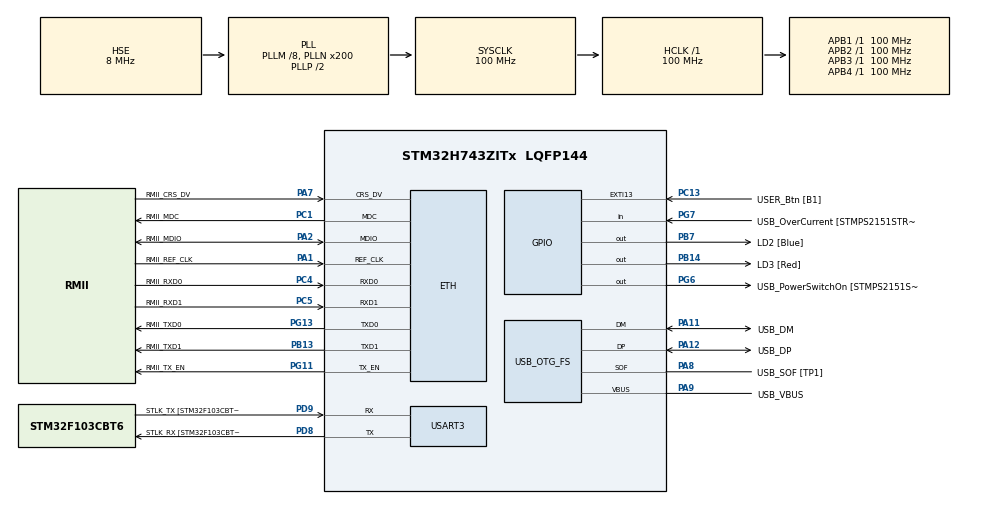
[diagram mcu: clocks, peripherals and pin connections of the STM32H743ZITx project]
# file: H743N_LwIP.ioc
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CORTEX_M7.AccessPermission-Cortex_Memory_Protection_Unit_Region0_Settings=MPU_REGION_NO_ACCESS
CORTEX_M7.AccessPermission-Cortex_Memory_Protection_Unit_Region1_Settings=MPU_REGION_FULL_ACCESS
CORTEX_M7.AccessPermission-Cortex_Memory_Protection_Unit_Region2_Settings=MPU_REGION_FULL_ACCESS
CORTEX_M7.BaseAddress-Cortex_Memory_Protection_Unit_Region0_Settings=0
CORTEX_M7.BaseAddress-Cortex_Memory_Protection_Unit_Region1_Settings=0x30020000
CORTEX_M7.BaseAddress-Cortex_Memory_Protection_Unit_Region2_Settings=0x30040000
CORTEX_M7.CPU_DCache=Enabled
CORTEX_M7.CPU_ICache=Enabled
CORTEX_M7.DisableExec-Cortex_Memory_Protection_Unit_Region0_Settings=MPU_INSTRUCTION_ACCESS_DISABLE
CORTEX_M7.DisableExec-Cortex_Memory_Protection_Unit_Region1_Settings=MPU_INSTRUCTION_ACCESS_DISABLE
CORTEX_M7.DisableExec-Cortex_Memory_Protection_Unit_Region2_Settings=MPU_INSTRUCTION_ACCESS_DISABLE
CORTEX_M7.Enable-Cortex_Memory_Protection_Unit_Region0_Settings=MPU_REGION_ENABLE
CORTEX_M7.Enable-Cortex_Memory_Protection_Unit_Region1_Settings=MPU_REGION_ENABLE
CORTEX_M7.Enable-Cortex_Memory_Protection_Unit_Region2_Settings=MPU_REGION_ENABLE
CORTEX_M7.IsBufferable-Cortex_Memory_Protection_Unit_Region0_Settings=MPU_ACCESS_NOT_BUFFERABLE
CORTEX_M7.IsBufferable-Cortex_Memory_Protection_Unit_Region2_Settings=MPU_ACCESS_BUFFERABLE
CORTEX_M7.IsShareable-Cortex_Memory_Protection_Unit_Region0_Settings=MPU_ACCESS_SHAREABLE
CORTEX_M7.IsShareable-Cortex_Memory_Protection_Unit_Region1_Settings=MPU_ACCESS_NOT_SHAREABLE
CORTEX_M7.IsShareable-Cortex_Memory_Protection_Unit_Region2_Settings=MPU_ACCESS_SHAREABLE
CORTEX_M7.MPU_Control=MPU_PRIVILEGED_DEFAULT
CORTEX_M7.Size-Cortex_Memory_Protection_Unit_Region0_Settings=MPU_REGION_SIZE_4GB
CORTEX_M7.Size-Cortex_Memory_Protection_Unit_Region1_Settings=MPU_REGION_SIZE_128KB
CORTEX_M7.Size-Cortex_Memory_Protection_Unit_Region2_Settings=MPU_REGION_SIZE_512B
CORTEX_M7.SubRegionDisable-Cortex_Memory_Protection_Unit_Region0_Settings=0x87
CORTEX_M7.TypeExtField-Cortex_Memory_Protection_Unit_Region1_Settings=MPU_TEX_LEVEL1
ETH.MediaInterface=HAL_ETH_RMII_MODE
FREERTOS.MEMORY_ALLOCATION=0
FREERTOS.Tasks01=defaultTask,0,512,StartDefaultTask,Default,NULL,Dynamic,NULL,NULL;myTask02,0,1024,TCPServerTask,Default,NULL,Dynamic,NULL,NULL
FREERTOS.configMINIMAL_STACK_SIZE=512
FREERTOS.configTOTAL_HEAP_SIZE=32768
FREERTOS.configUSE_NEWLIB_REENTRANT=1
LWIP.BSP.number=1
LWIP.GATEWAY_ADDRESS=192.168.010.001
LWIP.IP_ADDRESS=192.168.010.010
LWIP.LWIP_DHCP=0
LWIP.LWIP_HTTPD=0
LWIP.LWIP_NETIF_LOOPBACK=1
LWIP.LWIP_RAM_HEAP_POINTER=0x30020000
LWIP.MEM_SIZE=131048
LWIP.NETMASK_ADDRESS=255.255.255.000
LWIP.Version=v2.1.2_Cube
LWIP0.BSP.STBoard=false
LWIP0.BSP.api=BSP_COMPONENT_DRIVER
LWIP0.BSP.component=LAN8742
LWIP0.BSP.instance=LAN8742
LWIP0.BSP.name=Driver_PHY
LWIP0.BSP.solution=LAN8742
Mcu.Family=STM32H7
Mcu.Name=STM32H743ZITx
Mcu.Package=LQFP144
NVIC.ETH_IRQn=true\:5\:0\:false\:false\:true\:true\:true\:true\:true
NVIC.ETH_WKUP_IRQn=true\:5\:0\:false\:false\:true\:true\:true\:true\:true
NVIC.PriorityGroup=NVIC_PRIORITYGROUP_4
NVIC.TIM8_UP_TIM13_IRQn=true\:0\:0\:false\:false\:true\:false\:false\:true\:true
NVIC.TimeBase=TIM8_UP_TIM13_IRQn
NVIC.TimeBaseIP=TIM8
PA1.GPIO_Label=RMII_REF_CLK
PA1.Mode=RMII
PA1.Signal=ETH_REF_CLK
PA10.GPIO_Label=USB_ID
PA10.Signal=USB_OTG_FS_ID
PA11.GPIO_Label=USB_DM
PA11.Mode=Device_Only
PA11.Signal=USB_OTG_FS_DM
PA12.GPIO_Label=USB_DP
PA12.Mode=Device_Only
PA12.Signal=USB_OTG_FS_DP
PA13\ (JTMS/SWDIO).Mode=Trace_Asynchronous_SW
PA13\ (JTMS/SWDIO).Signal=DEBUG_JTMS-SWDIO
PA14\ (JTCK/SWCLK).Mode=Trace_Asynchronous_SW
PA14\ (JTCK/SWCLK).Signal=DEBUG_JTCK-SWCLK
PA2.GPIO_Label=RMII_MDIO
PA2.Mode=RMII
PA2.Signal=ETH_MDIO
PA7.GPIO_Label=RMII_CRS_DV
PA7.Mode=RMII
PA7.Signal=ETH_CRS_DV
PA8.GPIO_Label=USB_SOF [TP1]
PA8.Mode=Activate_SOF_FS
PA8.Signal=USB_OTG_FS_SOF
PA9.GPIO_Label=USB_VBUS
PA9.Mode=Activate_VBUS
PA9.Signal=USB_OTG_FS_VBUS
PB13.GPIO_Label=RMII_TXD1
PB13.Mode=RMII
PB13.Signal=ETH_TXD1
PB14.GPIO_Label=LD3 [Red]
PB14.Signal=GPIO_Output
PB3\ (JTDO/TRACESWO).Mode=Trace_Asynchronous_SW
PB3\ (JTDO/TRACESWO).Signal=DEBUG_JTDO-SWO
PB7.GPIO_Label=LD2 [Blue]
PB7.Signal=GPIO_Output
PC1.GPIO_Label=RMII_MDC
PC1.Mode=RMII
PC1.Signal=ETH_MDC
PC13.GPIO_Label=USER_Btn [B1]
PC13.Signal=GPXTI13
PC14-OSC32_IN\ (OSC32_IN).Mode=LSE-External-Oscillator
PC14-OSC32_IN\ (OSC32_IN).Signal=RCC_OSC32_IN
PC15-OSC32_OUT\ (OSC32_OUT).Mode=LSE-External-Oscillator
PC15-OSC32_OUT\ (OSC32_OUT).Signal=RCC_OSC32_OUT
PC4.GPIO_Label=RMII_RXD0
PC4.Mode=RMII
PC4.Signal=ETH_RXD0
PC5.GPIO_Label=RMII_RXD1
PC5.Mode=RMII
PC5.Signal=ETH_RXD1
PD8.GPIO_Label=STLK_RX [STM32F103CBT6_PA3]
PD8.Mode=Asynchronous
PD8.Signal=USART3_TX
PD9.GPIO_Label=STLK_TX [STM32F103CBT6_PA2]
PD9.Mode=Asynchronous
PD9.Signal=USART3_RX
PG11.GPIO_Label=RMII_TX_EN
PG11.Mode=RMII
PG11.Signal=ETH_TX_EN
PG13.GPIO_Label=RMII_TXD0
PG13.Mode=RMII
PG13.Signal=ETH_TXD0
PG6.GPIO_Label=USB_PowerSwitchOn [STMPS2151STR_EN]
PG6.Signal=GPIO_Output
PG7.GPIO_Label=USB_OverCurrent [STMPS2151STR_FAULT]
PG7.Signal=GPIO_Input
PH0-OSC_IN\ (PH0).GPIO_Label=MCO
PH0-OSC_IN\ (PH0).Mode=HSE-External-Clock-Source
PH0-OSC_IN\ (PH0).Signal=RCC_OSC_IN
PH1-OSC_OUT\ (PH1).Signal=RCC_OSC_OUT
ProjectManager.HeapSize=0x400
ProjectManager.StackSize=0x1000
ProjectManager.TargetToolchain=STM32CubeIDE
RCC.48MHZClocksFreq_Value=24000000
RCC.ADCFreq_Value=16125000
RCC.AHBFreq_Value=216000000
RCC.APB1CLKDivider=RCC_HCLK_DIV4
RCC.APB1Freq_Value=100000000
RCC.APB1TimFreq_Value=108000000
RCC.APB2CLKDivider=RCC_HCLK_DIV2
RCC.APB2Freq_Value=100000000
RCC.APB2TimFreq_Value=216000000
RCC.APB3Freq_Value=100000000
RCC.APB4Freq_Value=100000000
RCC.CortexFreq_Value=100000000
RCC.DIVM1=8
RCC.DIVM3=8
RCC.DIVN1=200
RCC.DIVN3=192
RCC.DIVQ1=4
RCC.DIVQ3=4
RCC.HCLKFreq_Value=100000000
RCC.HSE_VALUE=8000000
RCC.HSI_VALUE=64000000
RCC.PLLM=25
RCC.PLLMUL=RCC_PLL_MUL9
RCC.PLLN=432
RCC.PLLQ=9
RCC.PRESCALERUSB=RCC_USBCLKSOURCE_PLL_DIV1_5
RCC.PWR_Regulator_Voltage_Scale=PWR_REGULATOR_VOLTAGE_SCALE3
RCC.SYSCLKFreq_VALUE=100000000
RCC.SYSCLKSource=RCC_SYSCLKSOURCE_PLLCLK
RCC.SYSCLKSourceVirtual=RCC_SYSCLKSOURCE_PLLCLK
RCC.USART234578CLockSelection=RCC_USART234578CLKSOURCE_PLL3
RCC.USBCLockSelection=RCC_USBCLKSOURCE_PLL3
RCC.USBFreq_Value=48000000
RCC.VCOOutputFreq_Value=432000000
USART3.VirtualMode-Asynchronous=VM_ASYNC
USB_OTG_FS.VirtualMode=Device_Only
VP_CRC_VS_CRC.Mode=CRC_Activate
VP_FREERTOS_VS_CMSIS_V1.Mode=CMSIS_V1
VP_LWIP_VS_Enabled.Mode=Enabled
VP_SYS_VS_tim8.Mode=TIM8
board=NUCLEO-H743ZI

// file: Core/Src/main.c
/* USER CODE BEGIN Header */
/**
  ******************************************************************************
  * @file           : main.c
  * @brief          : Main program body
  ******************************************************************************
  * @attention
  *
  * <h2><center>&copy; Copyright (c) 2021 STMicroelectronics.
  * All rights reserved.</center></h2>
  *
  * This software component is licensed by ST under Ultimate Liberty license
  * SLA0044, the "License"; You may not use this file except in compliance with
  * the License. You may obtain a copy of the License at:
  *                             www.st.com/SLA0044
  *
  ******************************************************************************
  */
/* USER CODE END Header */
#include "main.h"
#include "cmsis_os.h"
#include "lwip.h"

/* USER CODE BEGIN Includes */
#include "lwip/opt.h"
#include "lwip/sys.h"
#include "lwip/api.h"

#include "http_server.h"

/* USER CODE END Includes */

CRC_HandleTypeDef hcrc;

UART_HandleTypeDef huart3;

PCD_HandleTypeDef hpcd_USB_OTG_FS;

osThreadId defaultTaskHandle;
osThreadId myTask02Handle;

void SystemClock_Config(void);
void PeriphCommonClock_Config(void);
static void MPU_Config(void);
static void MX_GPIO_Init(void);
static void MX_USART3_UART_Init(void);
static void MX_USB_OTG_FS_PCD_Init(void);
static void MX_CRC_Init(void);
void StartDefaultTask(void const * argument);
void TCPServerTask(void const * argument);

/* USER CODE BEGIN 0 */

/**
  * @brief  DEBUG 메시지 출력을 위한 용도
  */
#ifdef __GNUC__
/* With GCC/RAISONANCE, small printf (option LD Linker->Libraries->Small printf
   set to 'Yes') calls __io_putchar() */
#define PUTCHAR_PROTOTYPE int __io_putchar(int ch)
#else
#define PUTCHAR_PROTOTYPE int fputc(int ch, FILE *f)
#endif /* __GNUC__ */

/**
  * @brief  Retargets the C library printf function to the USART.
  * @param  None
  * @retval None
  */
PUTCHAR_PROTOTYPE
{
  /* Place your implementation of fputc here */
  /* e.g. write a character to the USART1 and Loop until the end of transmission */
//#if defined(STM32H7) || defined(STM32H743xx)

  HAL_UART_Transmit(&huart3, (uint8_t *)&ch, 1, 0xFFFF);

  return ch;
}

/* USER CODE END 0 */

int main(void)
{

  /* MPU Configuration--------------------------------------------------------*/
  MPU_Config();

  /* Enable I-Cache---------------------------------------------------------*/
  SCB_EnableICache();

  /* Enable D-Cache---------------------------------------------------------*/
  SCB_EnableDCache();

  /* MCU Configuration--------------------------------------------------------*/

  /* Reset of all peripherals, Initializes the Flash interface and the Systick. */
  HAL_Init();

  /* Configure the system clock */
  SystemClock_Config();

/* Configure the peripherals common clocks */
  PeriphCommonClock_Config();

  /* Initialize all configured peripherals */
  MX_GPIO_Init();
  MX_USART3_UART_Init();
  MX_USB_OTG_FS_PCD_Init();
  MX_CRC_Init();

  /* Create the thread(s) */
  /* definition and creation of defaultTask */
  osThreadDef(defaultTask, StartDefaultTask, osPriorityNormal, 0, 512);
  defaultTaskHandle = osThreadCreate(osThread(defaultTask), NULL);

  /* definition and creation of myTask02 */
  osThreadDef(myTask02, TCPServerTask, osPriorityNormal, 0, 1024);
  myTask02Handle = osThreadCreate(osThread(myTask02), NULL);

  /* Start scheduler */
  osKernelStart();

  /* We should never get here as control is now taken by the scheduler */
  /* Infinite loop */
  while (1)
  {

    /* USER CODE BEGIN 3 */
//  	osDelay(100);
  }
  /* USER CODE END 3 */
}

void SystemClock_Config(void)
{
  RCC_OscInitTypeDef RCC_OscInitStruct = {0};
  RCC_ClkInitTypeDef RCC_ClkInitStruct = {0};

  /** Supply configuration update enable
  */
  HAL_PWREx_ConfigSupply(PWR_LDO_SUPPLY);

  /** Configure the main internal regulator output voltage
  */
  __HAL_PWR_VOLTAGESCALING_CONFIG(PWR_REGULATOR_VOLTAGE_SCALE3);

  while(!__HAL_PWR_GET_FLAG(PWR_FLAG_VOSRDY)) {}

  /** Macro to configure the PLL clock source
  */
  __HAL_RCC_PLL_PLLSOURCE_CONFIG(RCC_PLLSOURCE_HSE);

  /** Initializes the RCC Oscillators according to the specified parameters
  * in the RCC_OscInitTypeDef structure.
  */
  RCC_OscInitStruct.OscillatorType = RCC_OSCILLATORTYPE_HSE;
  RCC_OscInitStruct.HSEState = RCC_HSE_BYPASS;
  RCC_OscInitStruct.PLL.PLLState = RCC_PLL_ON;
  RCC_OscInitStruct.PLL.PLLSource = RCC_PLLSOURCE_HSE;
  RCC_OscInitStruct.PLL.PLLM = 8;
  RCC_OscInitStruct.PLL.PLLN = 200;
  RCC_OscInitStruct.PLL.PLLP = 2;
  RCC_OscInitStruct.PLL.PLLQ = 4;
  RCC_OscInitStruct.PLL.PLLR = 2;
  RCC_OscInitStruct.PLL.PLLRGE = RCC_PLL1VCIRANGE_0;
  RCC_OscInitStruct.PLL.PLLVCOSEL = RCC_PLL1VCOWIDE;
  RCC_OscInitStruct.PLL.PLLFRACN = 0;
  if (HAL_RCC_OscConfig(&RCC_OscInitStruct) != HAL_OK)
  {
    Error_Handler();
  }

  /** Initializes the CPU, AHB and APB buses clocks
  */
  RCC_ClkInitStruct.ClockType = RCC_CLOCKTYPE_HCLK|RCC_CLOCKTYPE_SYSCLK
                              |RCC_CLOCKTYPE_PCLK1|RCC_CLOCKTYPE_PCLK2
                              |RCC_CLOCKTYPE_D3PCLK1|RCC_CLOCKTYPE_D1PCLK1;
  RCC_ClkInitStruct.SYSCLKSource = RCC_SYSCLKSOURCE_PLLCLK;
  RCC_ClkInitStruct.SYSCLKDivider = RCC_SYSCLK_DIV1;
  RCC_ClkInitStruct.AHBCLKDivider = RCC_HCLK_DIV1;
  RCC_ClkInitStruct.APB3CLKDivider = RCC_APB3_DIV1;
  RCC_ClkInitStruct.APB1CLKDivider = RCC_APB1_DIV1;
  RCC_ClkInitStruct.APB2CLKDivider = RCC_APB2_DIV1;
  RCC_ClkInitStruct.APB4CLKDivider = RCC_APB4_DIV1;

  if (HAL_RCC_ClockConfig(&RCC_ClkInitStruct, FLASH_LATENCY_2) != HAL_OK)
  {
    Error_Handler();
  }
}

void PeriphCommonClock_Config(void)
{
  RCC_PeriphCLKInitTypeDef PeriphClkInitStruct = {0};

  /** Initializes the peripherals clock
  */
  PeriphClkInitStruct.PeriphClockSelection = RCC_PERIPHCLK_USB|RCC_PERIPHCLK_USART3;
  PeriphClkInitStruct.PLL3.PLL3M = 8;
  PeriphClkInitStruct.PLL3.PLL3N = 192;
  PeriphClkInitStruct.PLL3.PLL3P = 2;
  PeriphClkInitStruct.PLL3.PLL3Q = 4;
  PeriphClkInitStruct.PLL3.PLL3R = 2;
  PeriphClkInitStruct.PLL3.PLL3RGE = RCC_PLL3VCIRANGE_0;
  PeriphClkInitStruct.PLL3.PLL3VCOSEL = RCC_PLL3VCOWIDE;
  PeriphClkInitStruct.PLL3.PLL3FRACN = 0;
  PeriphClkInitStruct.Usart234578ClockSelection = RCC_USART234578CLKSOURCE_PLL3;
  PeriphClkInitStruct.UsbClockSelection = RCC_USBCLKSOURCE_PLL3;
  if (HAL_RCCEx_PeriphCLKConfig(&PeriphClkInitStruct) != HAL_OK)
  {
    Error_Handler();
  }
}

static void MX_CRC_Init(void)
{

  hcrc.Instance = CRC;
  hcrc.Init.DefaultPolynomialUse = DEFAULT_POLYNOMIAL_ENABLE;
  hcrc.Init.DefaultInitValueUse = DEFAULT_INIT_VALUE_ENABLE;
  hcrc.Init.InputDataInversionMode = CRC_INPUTDATA_INVERSION_NONE;
  hcrc.Init.OutputDataInversionMode = CRC_OUTPUTDATA_INVERSION_DISABLE;
  hcrc.InputDataFormat = CRC_INPUTDATA_FORMAT_BYTES;
  if (HAL_CRC_Init(&hcrc) != HAL_OK)
  {
    Error_Handler();
  }

}

static void MX_USART3_UART_Init(void)
{

  huart3.Instance = USART3;
  huart3.Init.BaudRate = 115200;
  huart3.Init.WordLength = UART_WORDLENGTH_8B;
  huart3.Init.StopBits = UART_STOPBITS_1;
  huart3.Init.Parity = UART_PARITY_NONE;
  huart3.Init.Mode = UART_MODE_TX_RX;
  huart3.Init.HwFlowCtl = UART_HWCONTROL_NONE;
  huart3.Init.OverSampling = UART_OVERSAMPLING_16;
  huart3.Init.OneBitSampling = UART_ONE_BIT_SAMPLE_DISABLE;
  huart3.Init.ClockPrescaler = UART_PRESCALER_DIV1;
  huart3.AdvancedInit.AdvFeatureInit = UART_ADVFEATURE_NO_INIT;
  if (HAL_UART_Init(&huart3) != HAL_OK)
  {
    Error_Handler();
  }
  if (HAL_UARTEx_SetTxFifoThreshold(&huart3, UART_TXFIFO_THRESHOLD_1_8) != HAL_OK)
  {
    Error_Handler();
  }
  if (HAL_UARTEx_SetRxFifoThreshold(&huart3, UART_RXFIFO_THRESHOLD_1_8) != HAL_OK)
  {
    Error_Handler();
  }
  if (HAL_UARTEx_DisableFifoMode(&huart3) != HAL_OK)
  {
    Error_Handler();
  }

}

static void MX_USB_OTG_FS_PCD_Init(void)
{

  hpcd_USB_OTG_FS.Instance = USB_OTG_FS;
  hpcd_USB_OTG_FS.Init.dev_endpoints = 9;
  hpcd_USB_OTG_FS.Init.speed = PCD_SPEED_FULL;
  hpcd_USB_OTG_FS.Init.dma_enable = DISABLE;
  hpcd_USB_OTG_FS.Init.phy_itface = PCD_PHY_EMBEDDED;
  hpcd_USB_OTG_FS.Init.Sof_enable = ENABLE;
  hpcd_USB_OTG_FS.Init.low_power_enable = DISABLE;
  hpcd_USB_OTG_FS.Init.lpm_enable = DISABLE;
  hpcd_USB_OTG_FS.Init.battery_charging_enable = ENABLE;
  hpcd_USB_OTG_FS.Init.vbus_sensing_enable = ENABLE;
  hpcd_USB_OTG_FS.Init.use_dedicated_ep1 = DISABLE;
  if (HAL_PCD_Init(&hpcd_USB_OTG_FS) != HAL_OK)
  {
    Error_Handler();
  }

}

static void MX_GPIO_Init(void)
{
  GPIO_InitTypeDef GPIO_InitStruct = {0};

  /* GPIO Ports Clock Enable */
  __HAL_RCC_GPIOC_CLK_ENABLE();
  __HAL_RCC_GPIOH_CLK_ENABLE();
  __HAL_RCC_GPIOA_CLK_ENABLE();
  __HAL_RCC_GPIOB_CLK_ENABLE();
  __HAL_RCC_GPIOD_CLK_ENABLE();
  __HAL_RCC_GPIOG_CLK_ENABLE();

  /*Configure GPIO pin Output Level */
  HAL_GPIO_WritePin(GPIOB, LD3_Pin|LD2_Pin, GPIO_PIN_RESET);

  /*Configure GPIO pin Output Level */
  HAL_GPIO_WritePin(USB_PowerSwitchOn_GPIO_Port, USB_PowerSwitchOn_Pin, GPIO_PIN_RESET);

  /*Configure GPIO pin : USER_Btn_Pin */
  GPIO_InitStruct.Pin = USER_Btn_Pin;
  GPIO_InitStruct.Mode = GPIO_MODE_IT_RISING;
  GPIO_InitStruct.Pull = GPIO_NOPULL;
  HAL_GPIO_Init(USER_Btn_GPIO_Port, &GPIO_InitStruct);

  /*Configure GPIO pins : LD3_Pin LD2_Pin */
  GPIO_InitStruct.Pin = LD3_Pin|LD2_Pin;
  GPIO_InitStruct.Mode = GPIO_MODE_OUTPUT_PP;
  GPIO_InitStruct.Pull = GPIO_NOPULL;
  GPIO_InitStruct.Speed = GPIO_SPEED_FREQ_LOW;
  HAL_GPIO_Init(GPIOB, &GPIO_InitStruct);

  /*Configure GPIO pin : USB_PowerSwitchOn_Pin */
  GPIO_InitStruct.Pin = USB_PowerSwitchOn_Pin;
  GPIO_InitStruct.Mode = GPIO_MODE_OUTPUT_PP;
  GPIO_InitStruct.Pull = GPIO_NOPULL;
  GPIO_InitStruct.Speed = GPIO_SPEED_FREQ_LOW;
  HAL_GPIO_Init(USB_PowerSwitchOn_GPIO_Port, &GPIO_InitStruct);

  /*Configure GPIO pin : USB_OverCurrent_Pin */
  GPIO_InitStruct.Pin = USB_OverCurrent_Pin;
  GPIO_InitStruct.Mode = GPIO_MODE_INPUT;
  GPIO_InitStruct.Pull = GPIO_NOPULL;
  HAL_GPIO_Init(USB_OverCurrent_GPIO_Port, &GPIO_InitStruct);

}

void StartDefaultTask(void const * argument)
{
  /* init code for LWIP */
  MX_LWIP_Init();
  /* USER CODE BEGIN 5 */
  http_server_netconn_init();

  /* Infinite loop */
  for(;;)
  {
	  HAL_GPIO_TogglePin(LD2_GPIO_Port, LD2_Pin);

    osDelay(500);
  }
  /* USER CODE END 5 */
}

void TCPServerTask(void const * argument)
{
  /* USER CODE BEGIN TCPServerTask */
	osDelay(1000);

  struct netconn *conn, *newconn;
  err_t err;

	LWIP_UNUSED_ARG(argument);

  /* Create a new connection identifier. */
  /* Bind connection to well known port number 7. */
  conn = netconn_new(NETCONN_TCP);
  netconn_bind(conn, IP_ADDR_ANY, 5101);

  //LWIP_ERROR("tcpecho: invalid conn", (conn != NULL), return;);

  /* Tell connection to go into listening mode. */
  netconn_listen(conn);

  /* Infinite loop */
  for(;;)
  {

    /* Grab new connection. */
    err = netconn_accept(conn, &newconn);

    /*printf("accepted new connection %p\n", newconn);*/
    /* Process the new connection. */
    if (err == ERR_OK) {
      struct netbuf *buf;
      void *data;
      uint8_t rcvbuf[64];
      u16_t len;

      while ((err = netconn_recv(newconn, &buf)) == ERR_OK) {
        /*printf("Recved\n");*/
        do {
             netbuf_data(buf, &data, &len);
             err = netconn_write(newconn, data, len, NETCONN_COPY);
        } while (netbuf_next(buf) >= 0);
        netbuf_delete(buf);
      }
      /*printf("Got EOF, looping\n");*/
      /* Close connection and discard connection identifier. */
      netconn_close(newconn);
      netconn_delete(newconn);
    }

//    osDelay(500);
  } // loop
  /* USER CODE END TCPServerTask */
}

/* MPU Configuration */

void MPU_Config(void)
{
  MPU_Region_InitTypeDef MPU_InitStruct = {0};

  /* Disables the MPU */
  HAL_MPU_Disable();

  /** Initializes and configures the Region and the memory to be protected
  */
  MPU_InitStruct.Enable = MPU_REGION_ENABLE;
  MPU_InitStruct.Number = MPU_REGION_NUMBER0;
  MPU_InitStruct.BaseAddress = 0;
  MPU_InitStruct.Size = MPU_REGION_SIZE_4GB;
  MPU_InitStruct.SubRegionDisable = 0x87;
  MPU_InitStruct.TypeExtField = MPU_TEX_LEVEL0;
  MPU_InitStruct.AccessPermission = MPU_REGION_NO_ACCESS;
  MPU_InitStruct.DisableExec = MPU_INSTRUCTION_ACCESS_DISABLE;
  MPU_InitStruct.IsShareable = MPU_ACCESS_SHAREABLE;
  MPU_InitStruct.IsCacheable = MPU_ACCESS_NOT_CACHEABLE;
  MPU_InitStruct.IsBufferable = MPU_ACCESS_NOT_BUFFERABLE;

  HAL_MPU_ConfigRegion(&MPU_InitStruct);

  /** Initializes and configures the Region and the memory to be protected
  */
  MPU_InitStruct.Number = MPU_REGION_NUMBER1;
  MPU_InitStruct.BaseAddress = 0x30020000;
  MPU_InitStruct.Size = MPU_REGION_SIZE_128KB;
  MPU_InitStruct.SubRegionDisable = 0x0;
  MPU_InitStruct.TypeExtField = MPU_TEX_LEVEL1;
  MPU_InitStruct.AccessPermission = MPU_REGION_FULL_ACCESS;
  MPU_InitStruct.IsShareable = MPU_ACCESS_NOT_SHAREABLE;

  HAL_MPU_ConfigRegion(&MPU_InitStruct);

  /** Initializes and configures the Region and the memory to be protected
  */
  MPU_InitStruct.Number = MPU_REGION_NUMBER2;
  MPU_InitStruct.BaseAddress = 0x30040000;
  MPU_InitStruct.Size = MPU_REGION_SIZE_512B;
  MPU_InitStruct.TypeExtField = MPU_TEX_LEVEL0;
  MPU_InitStruct.IsShareable = MPU_ACCESS_SHAREABLE;
  MPU_InitStruct.IsBufferable = MPU_ACCESS_BUFFERABLE;

  HAL_MPU_ConfigRegion(&MPU_InitStruct);
  /* Enables the MPU */
  HAL_MPU_Enable(MPU_PRIVILEGED_DEFAULT);

}

void HAL_TIM_PeriodElapsedCallback(TIM_HandleTypeDef *htim)
{
  if (htim->Instance == TIM8) {
    HAL_IncTick();
  }
}

void Error_Handler(void)
{
  __disable_irq();
  while (1)
  {
  }
}
